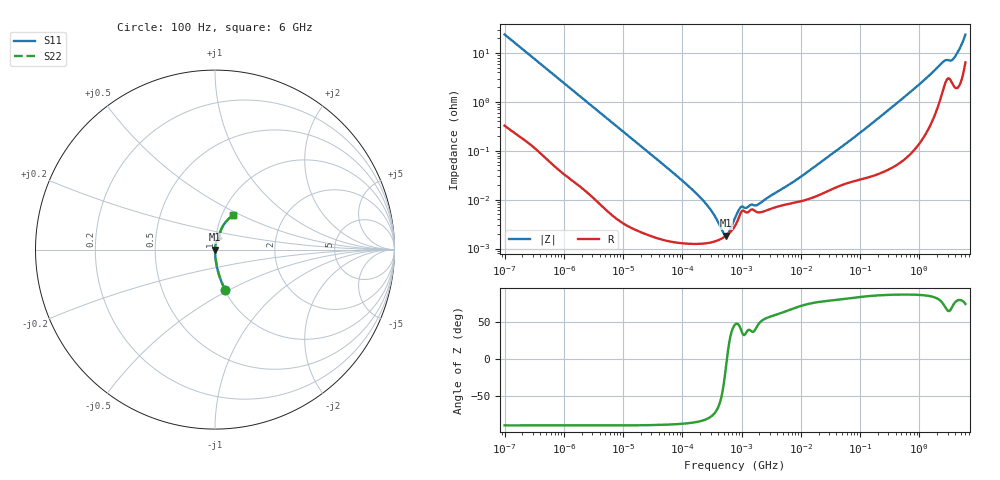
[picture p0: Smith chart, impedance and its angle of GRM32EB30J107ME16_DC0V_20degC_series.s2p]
!Murata Part Number: GRM32EB30J107ME16
!These Parameters are Measured in Series Mode Connection
!  o--ll--o
!Port1  Port2
!  o------o
!Operation Temp=20[degC], DC Bias Voltage=0[V]
!Freq. Start=100[Hz] Stop=6[GHz], 401[Steps]
!Data Generated on Jan 10, 2017
# Hz S RI R 50
!Freq.(Hz) S11(Real) S11(Imag) S21(Real) S21(Imag) S12(Real) S12(Imag) S22(Real) S22(Imag)
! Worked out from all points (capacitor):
!   401 points, 100 Hz to 6 GHz, reference 50 ohm
!   read as one part in series: C = 66.2 uF near 109.4 Hz
!   lowest |Z| = 1.84 mohm at 541.4 kHz (marker M1)
!   series resonance near 565.2 kHz, so ESL is about 1.2 nH
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100  0.0571 -0.2253  0.9429 0.2253  0.9429 0.2253  0.0571 -0.2253
187.1696  0.0181 -0.1262  0.9819 0.1262  0.9819 0.1262  0.0181 -0.1262
334.9849  0.00628 -0.0719  0.9937 0.0719  0.9937 0.0719  0.00628 -0.0719
2008.354  0.000324 -0.0123  0.9997 0.0123  0.9997 0.0123  0.000324 -0.0123
40334.87  1.62e-05 -0.00062  1 0.00062  1 0.00062  1.62e-05 -0.00062
108013.7  1.27e-05 -0.000225  1 0.000225  1 0.000225  1.27e-05 -0.000225
211426.6  1.25e-05 -0.000103  1 0.000103  1 0.000103  1.25e-05 -0.000103
241822  1.27e-05 -8.58e-05  1 8.58e-05  1 8.58e-05  1.27e-05 -8.58e-05
541393  1.8e-05 -3.96e-06  1 3.96e-06  1 3.96e-06  1.8e-05 -3.96e-06
774596.7  2.9e-05 3.06e-05  1 -3.06e-05  1 -3.06e-05  2.9e-05 3.06e-05
2481164  5.86e-05 8.18e-05  0.9999 -8.18e-05  0.9999 -8.18e-05  5.86e-05 8.18e-05
6948629  8.42e-05 0.000201  0.9999 -0.000201  0.9999 -0.000201  8.42e-05 0.000201
1.555665e7  0.000109 0.00042  0.9999 -0.00042  0.9999 -0.00042  0.000109 0.00042
7.797396e7  0.000241 0.00183  0.9998 -0.00183  0.9998 -0.00183  0.000241 0.00183
3.124326e8  0.00047 0.00704  0.9995 -0.00704  0.9995 -0.00704  0.00047 0.00704
1.094528e9  0.00225 0.025  0.9977 -0.025  0.9977 -0.025  0.00225 0.025
2.450438e9  0.019 0.0599  0.981 -0.0599  0.981 -0.0599  0.019 0.0599
2.802721e9  0.0294 0.0632  0.9706 -0.0632  0.9706 -0.0632  0.0294 0.0632
3.352442e9  0.0312 0.0603  0.9688 -0.0603  0.9688 -0.0603  0.0312 0.0603
3.666503e9  0.0271 0.0665  0.9729 -0.0665  0.9729 -0.0665  0.0271 0.0665
4.385646e9  0.0281 0.0943  0.9719 -0.0943  0.9719 -0.0943  0.0281 0.0943
6e9  0.1018 0.1932  0.8982 -0.1932  0.8982 -0.1932  0.1018 0.1932
